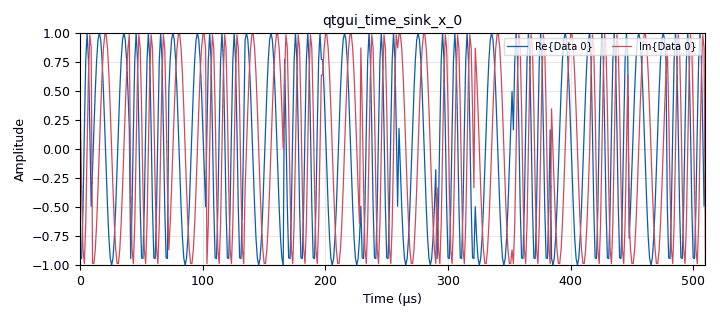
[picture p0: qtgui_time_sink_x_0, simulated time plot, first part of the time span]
<?xml version='1.0' encoding='utf-8'?>
<?grc format='1' created='3.7.11'?>
<flow_graph>
<block>
<key>options</key>
<param><key>id</key><value>top_block_1</value></param>
<param><key>generate_options</key><value>qt_gui</value></param>
</block>
<block>
<key>variable</key>
<param><key>id</key><value>samp_rate</value></param>
<param><key>value</key><value>900000</value></param>
</block>
<block>
<key>analog_const_source_x</key>
<param><key>id</key><value>analog_const_source_x_0</value></param>
<param><key>const</key><value>1</value></param>
<param><key>type</key><value>float</value></param>
</block>
<block>
<key>analog_const_source_x</key>
<param><key>id</key><value>analog_const_source_x_0_0</value></param>
<param><key>const</key><value>1</value></param>
<param><key>type</key><value>float</value></param>
</block>
<block>
<key>analog_sig_source_x</key>
<param><key>id</key><value>analog_sig_source_x_0</value></param>
<param><key>amp</key><value>1</value></param>
<param><key>freq</key><value>16000</value></param>
<param><key>offset</key><value>0</value></param>
<param><key>type</key><value>float</value></param>
<param><key>samp_rate</key><value>samp_rate</value></param>
<param><key>waveform</key><value>analog.GR_SQR_WAVE</value></param>
</block>
<block>
<key>analog_sig_source_x</key>
<param><key>id</key><value>analog_sig_source_x_0_0</value></param>
<param><key>amp</key><value>1</value></param>
<param><key>freq</key><value>50000</value></param>
<param><key>offset</key><value>0</value></param>
<param><key>type</key><value>float</value></param>
<param><key>samp_rate</key><value>samp_rate</value></param>
<param><key>waveform</key><value>analog.GR_COS_WAVE</value></param>
</block>
<block>
<key>analog_sig_source_x</key>
<param><key>id</key><value>analog_sig_source_x_0_0_0</value></param>
<param><key>amp</key><value>1</value></param>
<param><key>freq</key><value>100000</value></param>
<param><key>offset</key><value>0</value></param>
<param><key>type</key><value>float</value></param>
<param><key>samp_rate</key><value>samp_rate</value></param>
<param><key>waveform</key><value>analog.GR_COS_WAVE</value></param>
</block>
<block>
<key>analog_sig_source_x</key>
<param><key>id</key><value>analog_sig_source_x_0_0_0_0</value></param>
<param><key>amp</key><value>1</value></param>
<param><key>freq</key><value>100000</value></param>
<param><key>offset</key><value>0</value></param>
<param><key>type</key><value>float</value></param>
<param><key>samp_rate</key><value>samp_rate</value></param>
<param><key>waveform</key><value>analog.GR_SIN_WAVE</value></param>
</block>
<block>
<key>analog_sig_source_x</key>
<param><key>id</key><value>analog_sig_source_x_0_0_1</value></param>
<param><key>amp</key><value>1</value></param>
<param><key>freq</key><value>50000</value></param>
<param><key>offset</key><value>0</value></param>
<param><key>type</key><value>float</value></param>
<param><key>samp_rate</key><value>samp_rate</value></param>
<param><key>waveform</key><value>analog.GR_SIN_WAVE</value></param>
</block>
<block>
<key>blocks_abs_xx</key>
<param><key>id</key><value>blocks_abs_xx_0</value></param>
<param><key>type</key><value>float</value></param>
</block>
<block>
<key>blocks_abs_xx</key>
<param><key>id</key><value>blocks_abs_xx_0_0</value></param>
<param><key>type</key><value>float</value></param>
</block>
<block>
<key>blocks_add_xx</key>
<param><key>id</key><value>blocks_add_xx_0</value></param>
<param><key>type</key><value>float</value></param>
</block>
<block>
<key>blocks_add_xx</key>
<param><key>id</key><value>blocks_add_xx_0_0</value></param>
<param><key>type</key><value>float</value></param>
</block>
<block>
<key>blocks_float_to_complex</key>
<param><key>id</key><value>blocks_float_to_complex_0</value></param>
</block>
<block>
<key>blocks_multiply_xx</key>
<param><key>id</key><value>blocks_multiply_xx_0</value></param>
<param><key>type</key><value>float</value></param>
</block>
<block>
<key>blocks_multiply_xx</key>
<param><key>id</key><value>blocks_multiply_xx_0_0</value></param>
<param><key>type</key><value>float</value></param>
</block>
<block>
<key>blocks_multiply_xx</key>
<param><key>id</key><value>blocks_multiply_xx_1</value></param>
<param><key>type</key><value>float</value></param>
</block>
<block>
<key>blocks_multiply_xx</key>
<param><key>id</key><value>blocks_multiply_xx_1_0</value></param>
<param><key>type</key><value>float</value></param>
</block>
<block>
<key>blocks_sub_xx</key>
<param><key>id</key><value>blocks_sub_xx_0</value></param>
<param><key>type</key><value>float</value></param>
</block>
<block>
<key>blocks_sub_xx</key>
<param><key>id</key><value>blocks_sub_xx_0_0</value></param>
<param><key>type</key><value>float</value></param>
</block>
<block>
<key>channels_channel_model</key>
<param><key>id</key><value>channels_channel_model_0</value></param>
<param><key>epsilon</key><value>1.0</value></param>
<param><key>freq_offset</key><value>0.0</value></param>
<param><key>noise_voltage</key><value>2</value></param>
<param><key>seed</key><value>0</value></param>
<param><key>taps</key><value>1.0 + 1.0j</value></param>
</block>
<block>
<key>my_fhss_v1_addlist_fhss_cc</key>
<param><key>id</key><value>my_fhss_v1_addlist_fhss_cc_0</value></param>
<param><key>base_freq</key><value>25000</value></param>
<param><key>freq_interval</key><value>20000</value></param>
<param><key>hop_times</key><value>8</value></param>
<param><key>samp_rate</key><value>samp_rate</value></param>
</block>
<block>
<key>my_fhss_v1_fhss_list_sink</key>
<param><key>id</key><value>my_fhss_v1_fhss_list_sink_0</value></param>
<param><key>modtype</key><value>2</value></param>
<param><key>vec_len</key><value>256</value></param>
<param><key>vec_num</key><value>20000</value></param>
</block>
<block>
<key>qtgui_time_sink_x</key>
<param><key>id</key><value>qtgui_time_sink_x_0</value></param>
<param><key>color1</key><value>"blue"</value></param>
<param><key>label1</key><value></value></param>
<param><key>color2</key><value>"red"</value></param>
<param><key>label2</key><value></value></param>
<param><key>size</key><value>1024</value></param>
<param><key>srate</key><value>samp_rate</value></param>
<param><key>type</key><value>complex</value></param>
</block>
<block>
<key>qtgui_time_sink_x</key>
<param><key>id</key><value>qtgui_time_sink_x_1</value></param>
<param><key>color1</key><value>"blue"</value></param>
<param><key>label1</key><value></value></param>
<param><key>color2</key><value>"red"</value></param>
<param><key>label2</key><value></value></param>
<param><key>size</key><value>1024</value></param>
<param><key>srate</key><value>samp_rate</value></param>
<param><key>type</key><value>complex</value></param>
</block>
<connection><source_block_id>analog_const_source_x_0</source_block_id><sink_block_id>blocks_sub_xx_0</sink_block_id><source_key>0</source_key><sink_key>1</sink_key></connection>
<connection><source_block_id>analog_const_source_x_0_0</source_block_id><sink_block_id>blocks_sub_xx_0_0</sink_block_id><source_key>0</source_key><sink_key>1</sink_key></connection>
<connection><source_block_id>analog_sig_source_x_0</source_block_id><sink_block_id>blocks_multiply_xx_0</sink_block_id><source_key>0</source_key><sink_key>0</sink_key></connection>
<connection><source_block_id>analog_sig_source_x_0</source_block_id><sink_block_id>blocks_multiply_xx_0_0</sink_block_id><source_key>0</source_key><sink_key>0</sink_key></connection>
<connection><source_block_id>analog_sig_source_x_0</source_block_id><sink_block_id>blocks_sub_xx_0</sink_block_id><source_key>0</source_key><sink_key>0</sink_key></connection>
<connection><source_block_id>analog_sig_source_x_0</source_block_id><sink_block_id>blocks_sub_xx_0_0</sink_block_id><source_key>0</source_key><sink_key>0</sink_key></connection>
<connection><source_block_id>analog_sig_source_x_0_0</source_block_id><sink_block_id>blocks_multiply_xx_0</sink_block_id><source_key>0</source_key><sink_key>1</sink_key></connection>
<connection><source_block_id>analog_sig_source_x_0_0_0</source_block_id><sink_block_id>blocks_multiply_xx_1</sink_block_id><source_key>0</source_key><sink_key>1</sink_key></connection>
<connection><source_block_id>analog_sig_source_x_0_0_0_0</source_block_id><sink_block_id>blocks_multiply_xx_1_0</sink_block_id><source_key>0</source_key><sink_key>0</sink_key></connection>
<connection><source_block_id>analog_sig_source_x_0_0_1</source_block_id><sink_block_id>blocks_multiply_xx_0_0</sink_block_id><source_key>0</source_key><sink_key>1</sink_key></connection>
<connection><source_block_id>blocks_abs_xx_0</source_block_id><sink_block_id>blocks_multiply_xx_1</sink_block_id><source_key>0</source_key><sink_key>0</sink_key></connection>
<connection><source_block_id>blocks_abs_xx_0_0</source_block_id><sink_block_id>blocks_multiply_xx_1_0</sink_block_id><source_key>0</source_key><sink_key>1</sink_key></connection>
<connection><source_block_id>blocks_add_xx_0</source_block_id><sink_block_id>blocks_float_to_complex_0</sink_block_id><source_key>0</source_key><sink_key>0</sink_key></connection>
<connection><source_block_id>blocks_add_xx_0_0</source_block_id><sink_block_id>blocks_float_to_complex_0</sink_block_id><source_key>0</source_key><sink_key>1</sink_key></connection>
<connection><source_block_id>blocks_float_to_complex_0</source_block_id><sink_block_id>my_fhss_v1_addlist_fhss_cc_0</sink_block_id><source_key>0</source_key><sink_key>0</sink_key></connection>
<connection><source_block_id>blocks_float_to_complex_0</source_block_id><sink_block_id>qtgui_time_sink_x_0</sink_block_id><source_key>0</source_key><sink_key>0</sink_key></connection>
<connection><source_block_id>blocks_multiply_xx_0</source_block_id><sink_block_id>blocks_add_xx_0</sink_block_id><source_key>0</source_key><sink_key>0</sink_key></connection>
<connection><source_block_id>blocks_multiply_xx_0_0</source_block_id><sink_block_id>blocks_add_xx_0_0</sink_block_id><source_key>0</source_key><sink_key>0</sink_key></connection>
<connection><source_block_id>blocks_multiply_xx_1</source_block_id><sink_block_id>blocks_add_xx_0</sink_block_id><source_key>0</source_key><sink_key>1</sink_key></connection>
<connection><source_block_id>blocks_multiply_xx_1_0</source_block_id><sink_block_id>blocks_add_xx_0_0</sink_block_id><source_key>0</source_key><sink_key>1</sink_key></connection>
<connection><source_block_id>blocks_sub_xx_0</source_block_id><sink_block_id>blocks_abs_xx_0</sink_block_id><source_key>0</source_key><sink_key>0</sink_key></connection>
<connection><source_block_id>blocks_sub_xx_0_0</source_block_id><sink_block_id>blocks_abs_xx_0_0</sink_block_id><source_key>0</source_key><sink_key>0</sink_key></connection>
<connection><source_block_id>channels_channel_model_0</source_block_id><sink_block_id>my_fhss_v1_fhss_list_sink_0</sink_block_id><source_key>0</source_key><sink_key>0</sink_key></connection>
<connection><source_block_id>channels_channel_model_0</source_block_id><sink_block_id>qtgui_time_sink_x_1</sink_block_id><source_key>0</source_key><sink_key>0</sink_key></connection>
<connection><source_block_id>my_fhss_v1_addlist_fhss_cc_0</source_block_id><sink_block_id>channels_channel_model_0</sink_block_id><source_key>0</source_key><sink_key>0</sink_key></connection>
</flow_graph>
